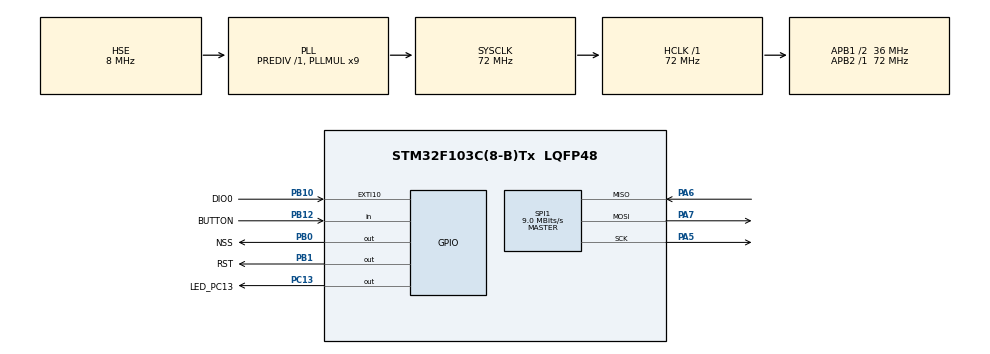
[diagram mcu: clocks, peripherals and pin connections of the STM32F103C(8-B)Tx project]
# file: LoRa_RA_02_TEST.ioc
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Mcu.Family=STM32F1
Mcu.Name=STM32F103C(8-B)Tx
Mcu.Package=LQFP48
NVIC.EXTI15_10_IRQn=true\:0\:0\:false\:false\:true\:true\:true
NVIC.PriorityGroup=NVIC_PRIORITYGROUP_4
PA13.Mode=Trace_Asynchronous_SW
PA13.Signal=SYS_JTMS-SWDIO
PA14.Mode=Trace_Asynchronous_SW
PA14.Signal=SYS_JTCK-SWCLK
PA5.Mode=Full_Duplex_Master
PA5.Signal=SPI1_SCK
PA6.Mode=Full_Duplex_Master
PA6.Signal=SPI1_MISO
PA7.Mode=Full_Duplex_Master
PA7.Signal=SPI1_MOSI
PB0.GPIO_Label=NSS
PB0.GPIO_PuPd=GPIO_NOPULL
PB0.PinState=GPIO_PIN_SET
PB0.Signal=GPIO_Output
PB1.GPIO_Label=RST
PB1.GPIO_PuPd=GPIO_NOPULL
PB1.PinState=GPIO_PIN_SET
PB1.Signal=GPIO_Output
PB10.GPIO_Label=DIO0
PB10.Signal=GPXTI10
PB12.GPIO_Label=BUTTON
PB12.GPIO_PuPd=GPIO_PULLUP
PB12.Signal=GPIO_Input
PB3.Mode=Trace_Asynchronous_SW
PB3.Signal=SYS_JTDO-TRACESWO
PC13-TAMPER-RTC.GPIO_Label=LED_PC13
PC13-TAMPER-RTC.Signal=GPIO_Output
PD0-OSC_IN.Mode=HSE-External-Oscillator
PD0-OSC_IN.Signal=RCC_OSC_IN
PD1-OSC_OUT.Mode=HSE-External-Oscillator
PD1-OSC_OUT.Signal=RCC_OSC_OUT
ProjectManager.HeapSize=0x200
ProjectManager.StackSize=0x400
ProjectManager.TargetToolchain=STM32CubeIDE
RCC.AHBFreq_Value=72000000
RCC.APB1CLKDivider=RCC_HCLK_DIV2
RCC.APB1Freq_Value=36000000
RCC.APB1TimFreq_Value=72000000
RCC.APB2Freq_Value=72000000
RCC.APB2TimFreq_Value=72000000
RCC.HCLKFreq_Value=72000000
RCC.PLLMUL=RCC_PLL_MUL9
RCC.PLLSourceVirtual=RCC_PLLSOURCE_HSE
RCC.SYSCLKFreq_VALUE=72000000
RCC.SYSCLKSource=RCC_SYSCLKSOURCE_PLLCLK
RCC.USBFreq_Value=72000000
SPI1.BaudRatePrescaler=SPI_BAUDRATEPRESCALER_8
SPI1.CalculateBaudRate=9.0 MBits/s
SPI1.Direction=SPI_DIRECTION_2LINES
SPI1.Mode=SPI_MODE_MASTER
SPI1.VirtualType=VM_MASTER
board=custom

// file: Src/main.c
/* USER CODE BEGIN Header */
/**
 ******************************************************************************
 * @file           : main.c
 * @brief          : Main program body
 ******************************************************************************
 * @attention
 *
 * <h2><center>&copy; Copyright (c) 2022 STMicroelectronics.
 * All rights reserved.</center></h2>
 *
 * This software component is licensed by ST under BSD 3-Clause license,
 * the "License"; You may not use this file except in compliance with the
 * License. You may obtain a copy of the License at:
 *                        opensource.org/licenses/BSD-3-Clause
 *
 ******************************************************************************
 */
/* USER CODE END Header */

#include "main.h"
#include "spi.h"
#include "gpio.h"

/* USER CODE BEGIN Includes */
#define TIME_BEF_START_ACTION 400
#define USER_BTN_PIN BUTTON_Pin
#define USER_PORT_BTN_PIN GPIOB

#include <string.h>
#include <stdio.h>
#include <stdlib.h>
#include <stdbool.h>
#include "LoRa.h"

/* USER CODE END Includes */

/* USER CODE BEGIN PV */
LoRa myLoRa;
uint8_t LoRa_state = 0;
/* USER CODE END PV */

void SystemClock_Config(void);

/* USER CODE BEGIN 0 */

//-------------------------------------------------
int _write(int file, uint8_t *ptr, int len) {

	for (int DataIdx = 0; DataIdx < len; DataIdx++) {
		ITM_SendChar(*ptr++);
	}
	return len;
}

//-------------------------------------------------

uint8_t click = 0; //to store num of click
bool click_flug = true;
bool flug_time_press = true; //for don't set new press btn time if it's already set

uint64_t time_press = 0; //time when btn was pressed
bool flug_for_timer = false; //flug for store time when btn will be pressed

uint8_t led_on_command[10] = "Led_On_On";
uint8_t led_off_command[7] = "Led_Off";

uint8_t send_GET_DATA[128] =
		"GET_DATA_FROM_PIDR_2_433_444_FREQUENCY_TEST_WITH_LONG_CONFIRM_DATA_12378978896564132_564654_6545646664%:?%;?:%;(*?:(*?%(12345678";

uint8_t RxBuffer[128] = { };

uint8_t packet_size = 0;

uint8_t led_blink_command[] = "Led_Blink";

void one_btn() {
	//------------------------------------------------------------
	if (!HAL_GPIO_ReadPin(USER_PORT_BTN_PIN, USER_BTN_PIN) && click_flug) {
		if (flug_time_press) {
			flug_for_timer = true;
			//flug_time_press = false;
		}

		click_flug = false;
		click++;
	}
	if (HAL_GPIO_ReadPin(USER_PORT_BTN_PIN, USER_BTN_PIN)) { //only when but is unpress click can be incremented
		click_flug = true;
	}
	if (flug_for_timer) {
		time_press = HAL_GetTick();
		flug_for_timer = false;
	}
	if ((HAL_GetTick() - time_press >= TIME_BEF_START_ACTION)
			&& HAL_GPIO_ReadPin(USER_PORT_BTN_PIN, USER_BTN_PIN)) {
		//-------------------------------
		//action:
		switch (click) {
		case 1:
			LoRa_transmit(&myLoRa, led_on_command, sizeof(led_on_command), 500);
			break;

		case 2:
			LoRa_transmit(&myLoRa, led_off_command, sizeof(led_off_command),
					500);
			break;

		case 3:
			LoRa_transmit(&myLoRa, led_blink_command,
					(sizeof(led_blink_command) - 1), 500);
			break;

		case 4:

			break;

		case 5:

			break;
		}
		//-------------------------------

		//-------------------------------
		//reset:
		flug_for_timer = false;				//initial value
		flug_time_press = true;  			//initial value
		click_flug = true;					//initial value
		click = 0;							//initial value
		//-------------------------------
	}

	//------------------------------------------------------------
}

bool LoRa_intertupt = false;
bool freq = false;

int flag = 0;
int count = 0;
void print_RxBuffer() {
	count++;

	for (int a = 0; a < 40; a++) {
		printf("%c", RxBuffer[a]);
	}
	printf("\n"); //printf("|  myLoRa.frequency = %d\n", myLoRa.frequency);

	//if(count == 10) {
	//	count = 0;
	//flag = 1111;

//		if(freq == false) {
//			freq = true;
//
//			LoRa_gotoMode(&myLoRa, SLEEP_MODE);
//			LoRa_setFrequency(&myLoRa, 433);
//			LoRa_startReceiving(&myLoRa);
//		} else {
//			freq = false;
//
//			LoRa_gotoMode(&myLoRa, SLEEP_MODE);
//			LoRa_setFrequency(&myLoRa, 444);
//			LoRa_startReceiving(&myLoRa);
//		}

	// WORK --------------------------------
//		LoRa_gotoMode(&myLoRa, SLEEP_MODE);
//		LoRa_setFrequency(&myLoRa, 433);
//		LoRa_startReceiving(&myLoRa);
	//--------------------------------------

	// WORK --------------------------------
//		myLoRa.frequency 		 = 433;
//		LoRa_init(&myLoRa);
//		LoRa_startReceiving(&myLoRa);
	//--------------------------------------
	//}
}

void motion_cam_callback() {
	// CHANGE LORA FREQUENCY----------------
	myLoRa.frequency = 444;
	LoRa_init(&myLoRa);
	HAL_Delay(80);
	//--------------------------------------

	print_RxBuffer();

	HAL_Delay(500);

	for (int a = 0; a < 6; a++) {
		LoRa_transmit(&myLoRa, send_GET_DATA, 128, 100);
		HAL_GPIO_TogglePin(GPIOC, LED_PC13_Pin);
		HAL_Delay(250);
	}

	// CHANGE LORA FREQUENCY----------------
	myLoRa.frequency = 433;
	LoRa_init(&myLoRa);
	LoRa_startReceiving(&myLoRa);
	HAL_Delay(80);
	//--------------------------------------

	//HAL_NVIC_EnableIRQ(EXTI15_10_IRQn);
}

/* USER CODE END 0 */

int main(void) {

	/* MCU Configuration--------------------------------------------------------*/

	/* Reset of all peripherals, Initializes the Flash interface and the Systick. */
	HAL_Init();

	/* Configure the system clock */
	SystemClock_Config();

	/* Initialize all configured peripherals */
	MX_GPIO_Init();
	MX_SPI1_Init();
	/* USER CODE BEGIN 2 */

	HAL_Delay(100);

	myLoRa = newLoRa();

	myLoRa.CS_port = NSS_GPIO_Port;
	myLoRa.CS_pin = NSS_Pin;
	myLoRa.reset_port = RST_GPIO_Port;
	myLoRa.reset_pin = RST_Pin;
	myLoRa.DIO0_port = DIO0_GPIO_Port;
	myLoRa.DIO0_pin = DIO0_Pin;
	myLoRa.hSPIx = &hspi1;

	myLoRa.frequency = 433;

	if (LoRa_init(&myLoRa) == LORA_OK) {
		LoRa_state = 1;
	}

	LoRa_startReceiving(&myLoRa);

	HAL_Delay(100);

	//LoRa_transmit(&myLoRa, led_on_command, sizeof(led_on_command), 500);

	/* USER CODE END 2 */

	/* Infinite loop */
	while (1) {

		/* USER CODE BEGIN 3 */

//	  LoRa_transmit(&myLoRa, led_on_command, sizeof(led_on_command), 500);
//	  HAL_GPIO_TogglePin(GPIOC, LED_PC13_Pin);
//	  HAL_Delay(500);
		//bool motion_cam_callback_flug = false;
		if (LoRa_intertupt == true) {
			LoRa_intertupt = false;

			if (memcmp(RxBuffer, "ALLARM", 6) == 0) {
				//motion_cam_callback_flug = true;
				HAL_GPIO_TogglePin(GPIOC, LED_PC13_Pin);

				motion_cam_callback();
			}

			//print_RxBuffer();
		}

	}
	/* USER CODE END 3 */
}

void SystemClock_Config(void) {
	RCC_OscInitTypeDef RCC_OscInitStruct = { 0 };
	RCC_ClkInitTypeDef RCC_ClkInitStruct = { 0 };

	/** Initializes the CPU, AHB and APB busses clocks
	 */
	RCC_OscInitStruct.OscillatorType = RCC_OSCILLATORTYPE_HSE;
	RCC_OscInitStruct.HSEState = RCC_HSE_ON;
	RCC_OscInitStruct.HSEPredivValue = RCC_HSE_PREDIV_DIV1;
	RCC_OscInitStruct.HSIState = RCC_HSI_ON;
	RCC_OscInitStruct.PLL.PLLState = RCC_PLL_ON;
	RCC_OscInitStruct.PLL.PLLSource = RCC_PLLSOURCE_HSE;
	RCC_OscInitStruct.PLL.PLLMUL = RCC_PLL_MUL9;
	if (HAL_RCC_OscConfig(&RCC_OscInitStruct) != HAL_OK) {
		Error_Handler();
	}
	/** Initializes the CPU, AHB and APB busses clocks
	 */
	RCC_ClkInitStruct.ClockType = RCC_CLOCKTYPE_HCLK | RCC_CLOCKTYPE_SYSCLK
			| RCC_CLOCKTYPE_PCLK1 | RCC_CLOCKTYPE_PCLK2;
	RCC_ClkInitStruct.SYSCLKSource = RCC_SYSCLKSOURCE_PLLCLK;
	RCC_ClkInitStruct.AHBCLKDivider = RCC_SYSCLK_DIV1;
	RCC_ClkInitStruct.APB1CLKDivider = RCC_HCLK_DIV2;
	RCC_ClkInitStruct.APB2CLKDivider = RCC_HCLK_DIV1;

	if (HAL_RCC_ClockConfig(&RCC_ClkInitStruct, FLASH_LATENCY_2) != HAL_OK) {
		Error_Handler();
	}
}

/* USER CODE BEGIN 4 */
void HAL_GPIO_EXTI_Callback(uint16_t GPIO_Pin) {
	if (GPIO_Pin == DIO0_Pin) {
		//HAL_NVIC_DisableIRQ(EXTI15_10_IRQn);

		LoRa_intertupt = true;

		LoRa_receive(&myLoRa, RxBuffer, 128);
	}
}
/* USER CODE END 4 */

void Error_Handler(void) {
}

/************************ (C) COPYRIGHT STMicroelectronics *****END OF FILE****/
